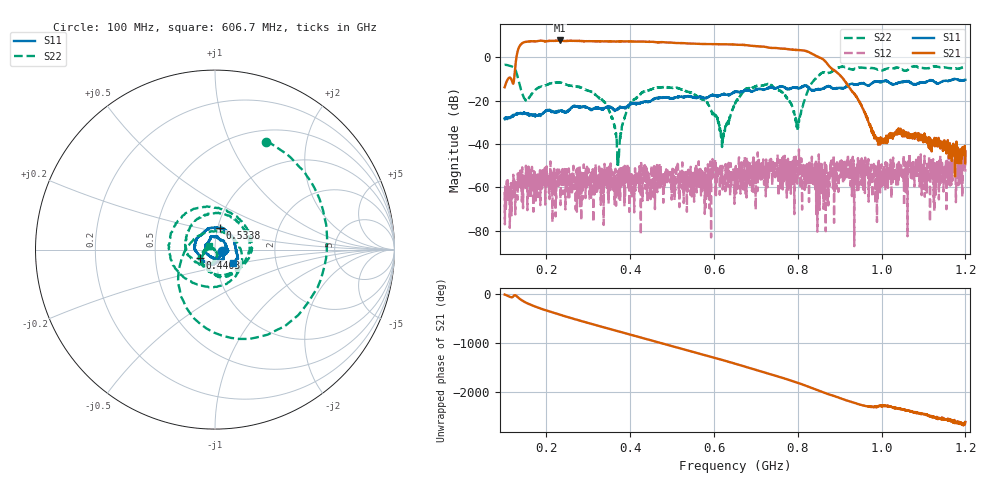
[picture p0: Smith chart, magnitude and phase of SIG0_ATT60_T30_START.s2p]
# Hz S DB R 50
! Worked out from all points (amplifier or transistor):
!   1601 points, 100 MHz to 1.2 GHz, reference 50 ohm
!   highest |S21| = 7.7 dB at 232 MHz (marker M1)
!   |S21| within 3 dB of that: 134.7 MHz to 724 MHz (589.3 MHz wide, 137 % of centre)
!   unconditionally stable (mu >= 1): start of sweep to end of sweep
!   at 282.9 MHz: K = 1160.81, MAG = 7.7 dB, |S12| = -75.2 dB
!   at 650 MHz: K = 113.25, MAG = 5.9 dB, |S12| = -53.2 dB
!   at 1.2 GHz: K = 17429.93, MAG = -40.7 dB, |S12| = -52.7 dB
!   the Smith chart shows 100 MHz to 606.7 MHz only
!   S11 on the Smith chart (normalised r, x): 100 MHz: 1.08, -0.01; 440.3 MHz: 0.84, -0.08; 533.8 MHz: 1.03, +0.25; 606.7 MHz: 1.21, -0.19
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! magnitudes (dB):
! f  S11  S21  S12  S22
! 100 MHz  -28.2  -13.8  -62.0  -3.5
! 119.9 MHz  -26.6  -12.2  -58.8  -4.5
! 141.9 MHz  -25.8  6.4  -50.7  -16.7
! 232 MHz  -24.6  7.7  -56.7  -11.7
! 283.6 MHz  -23.0  7.4  -57.6  -14.1
! 342.7 MHz  -23.3  7.2  -55.2  -21.9
! 370.9 MHz  -23.6  7.3  -54.8  -50.2
! 397.7 MHz  -22.1  7.2  -71.3  -22.1
! 440.3 MHz  -20.5  7.1  -52.6  -15.5
! 467.1 MHz  -19.0  6.9  -55.3  -14.0
! 533.8 MHz  -18.1  6.4  -52.8  -15.8
! 587.4 MHz  -18.2  6.0  -61.8  -22.1
! 606.7 MHz  -18.0  6.0  -50.1  -28.3
! 620.4 MHz  -17.0  5.9  -60.9  -39.4
! 650 MHz  -16.0  5.8  -53.2  -21.0
! 732.5 MHz  -13.9  4.3  -50.1  -12.3
! 799.9 MHz  -14.4  3.2  -48.9  -31.9
! 833.6 MHz  -15.3  1.6  -45.8  -11.9
! 911.2 MHz  -14.0  -10.7  -49.1  -4.5
! 990.3 MHz  -11.1  -38.4  -65.1  -5.7
! 1.017 GHz  -11.6  -36.5  -51.7  -5.0
! 1.2 GHz  -10.4  -43.3  -52.7  -4.1
